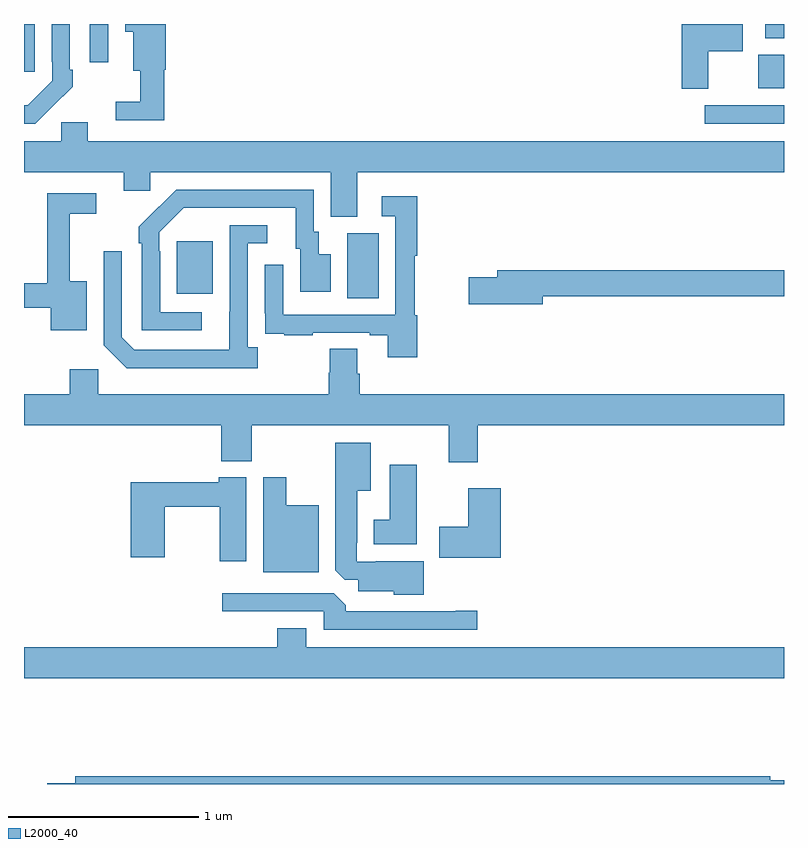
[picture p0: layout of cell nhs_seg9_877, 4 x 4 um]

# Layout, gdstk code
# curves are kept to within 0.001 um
import gdstk
lib = gdstk.Library(unit=1e-6, precision=1e-09)
def R(c, l, rs):  # rectangles x0, y0, x1, y1
    for r in rs: c.add(gdstk.rectangle(r[:2], r[2:], *l))
def P(c, l, *ps):  # polygons
    for p in ps: c.add(gdstk.Polygon(p, *l))
L2000_40 = (2000, 40)

nhs_seg9_877 = lib.new_cell('nhs_seg9_877')
R(nhs_seg9_877, L2000_40, [(158.702,1229.056,158.866,1229.4), (157.805,1229.081,157.993,1229.356), (160.584,1229.976,161,1230.072), (160.865,1230.161,161,1230.337), (157,1230.249,157.057,1230.5), (157.347,1230.3,157.443,1230.5), (160.901,1230.425,161,1230.5)])
P(nhs_seg9_877, L2000_40, [(160.6,1230.356),(160.783,1230.356),(160.783,1230.5),(160.463,1230.5),(160.463,1230.159),(160.6,1230.159)],
  [(157.739,1230.258),(157.745,1230.258),(157.745,1230.5),(157.532,1230.5),(157.532,1230.458),(157.574,1230.458),(157.574,1230.254),(157.611,1230.254),(157.611,1230.091),(157.482,1230.091),(157.482,1229.994),(157.739,1229.994)],
  [(157.151,1230.067),(157.152,1230.066),(157.257,1230.171),(157.257,1230.259),(157.242,1230.259),(157.242,1230.5),(157.146,1230.5),(157.146,1230.301),(157.149,1230.301),(157.149,1230.201),(157.021,1230.073),(157,1230.073),(157,1229.976),(157.06,1229.976)],
  [(158.755,1229.72),(161,1229.72),(161,1229.884),(157.336,1229.884),(157.336,1229.982),(157.197,1229.982),(157.197,1229.884),(157,1229.884),(157,1229.72),(157.526,1229.72),(157.526,1229.622),(157.665,1229.622),(157.665,1229.72),(158.615,1229.72),(158.615,1229.485),(158.755,1229.485)],
  [(157.936,1228.983),(157.716,1228.983),(157.716,1229.303),(157.713,1229.303),(157.713,1229.403),(157.842,1229.532),(158.429,1229.532),(158.429,1229.316),(158.453,1229.316),(158.453,1229.091),(158.614,1229.091),(158.614,1229.287),(158.551,1229.287),(158.551,1229.406),(158.526,1229.406),(158.526,1229.628),(157.802,1229.628),(157.605,1229.433),(157.605,1229.345),(157.62,1229.345),(157.62,1228.887),(157.936,1228.887)],
  [(157.33,1229.146),(157.241,1229.146),(157.241,1229.502),(157.381,1229.502),(157.381,1229.61),(157.123,1229.61),(157.123,1229.135),(157,1229.135),(157,1229.007),(157.142,1229.007),(157.142,1228.889),(157.33,1228.889)],
  [(159.071,1228.968),(159.056,1228.968),(159.056,1229.28),(159.071,1229.28),(159.071,1229.593),(158.883,1229.593),(158.883,1229.487),(158.955,1229.487),(158.955,1228.971),(158.364,1228.971),(158.364,1229.233),(158.268,1229.233),(158.268,1228.978),(158.269,1228.978),(158.269,1228.869),(158.371,1228.869),(158.371,1228.863),(158.519,1228.863),(158.519,1228.875),(158.819,1228.875),(158.819,1228.863),(158.915,1228.863),(158.915,1228.746),(159.071,1228.746)],
  [(158.23,1228.798),(158.178,1228.798),(158.178,1229.346),(158.281,1229.346),(158.281,1229.442),(158.082,1229.442),(158.081,1228.785),(157.581,1228.785),(157.515,1228.851),(157.515,1229.305),(157.419,1229.305),(157.419,1228.809),(157.54,1228.688),(158.23,1228.688)],
  [(159.73,1229.068),(161,1229.068),(161,1229.204),(159.491,1229.204),(159.491,1229.168),(159.342,1229.168),(159.342,1229.026),(159.73,1229.026)],
  [(159.389,1228.388),(161,1228.388),(161,1228.552),(158.768,1228.552),(158.768,1228.658),(158.755,1228.658),(158.755,1228.79),(158.608,1228.79),(158.608,1228.665),(158.603,1228.665),(158.603,1228.552),(157.392,1228.552),(157.392,1228.684),(157.241,1228.684),(157.241,1228.552),(157,1228.552),(157,1228.388),(158.039,1228.388),(158.039,1228.199),(158.199,1228.199),(158.199,1228.388),(159.236,1228.388),(159.236,1228.194),(159.389,1228.194)],
  [(159.103,1227.673),(158.851,1227.673),(158.851,1227.669),(158.751,1227.669),(158.751,1227.769),(158.755,1227.769),(158.755,1228.043),(158.824,1228.043),(158.824,1228.297),(158.639,1228.297),(158.639,1227.625),(158.688,1227.576),(158.759,1227.576),(158.759,1227.515),(158.946,1227.515),(158.946,1227.497),(159.103,1227.497)],
  [(159.067,1228.18),(158.924,1228.18),(158.924,1227.892),(158.84,1227.892),(158.84,1227.761),(159.067,1227.761)],
  [(158.551,1227.967),(158.38,1227.967),(158.38,1228.114),(158.258,1228.114),(158.258,1227.614),(158.551,1227.614)],
  [(158.17,1228.114),(158.024,1228.114),(158.024,1228.087),(157.562,1228.087),(157.562,1227.693),(157.74,1227.693),(157.74,1227.958),(158.029,1227.958),(158.029,1227.672),(158.17,1227.672)],
  [(159.508,1228.057),(159.338,1228.057),(159.338,1227.855),(159.186,1227.855),(159.186,1227.692),(159.508,1227.692)],
  [(159.385,1227.413),(159.272,1227.413),(159.272,1227.408),(158.693,1227.408),(158.693,1227.442),(158.631,1227.504),(158.043,1227.504),(158.043,1227.408),(158.577,1227.408),(158.577,1227.312),(159.385,1227.312)],
  [(161,1227.22),(158.485,1227.22),(158.485,1227.319),(158.333,1227.319),(158.333,1227.22),(157,1227.22),(157,1227.056),(161,1227.056)],
  [(161,1226.52),(160.928,1226.52),(160.928,1226.54),(157.271,1226.54),(157.271,1226.504),(157.122,1226.504),(157.122,1226.5),(161,1226.5)])

lib.write_gds('nhs_seg9_877.gds')
